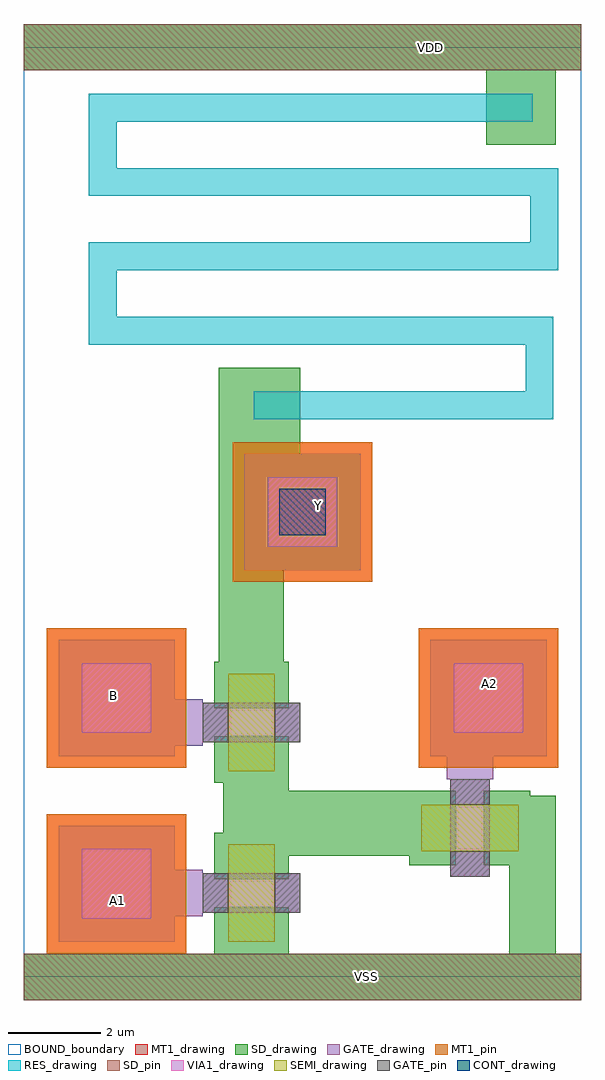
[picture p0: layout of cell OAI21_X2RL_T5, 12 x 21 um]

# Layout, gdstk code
from math import pi, radians
import gdstk
lib = gdstk.Library(unit=1e-6, precision=1e-09)
def R(c, l, rs):  # rectangles x0, y0, x1, y1
    for r in rs: c.add(gdstk.rectangle(r[:2], r[2:], *l))
def P(c, l, *ps):  # polygons
    for p in ps: c.add(gdstk.Polygon(p, *l))
RES_drawing = (1, 0)
SEMI_drawing = (3, 0)
SD_drawing = (10, 0)
SD_pin = (10, 3)
GATE_drawing = (11, 0)
GATE_pin = (11, 3)
MT1_drawing = (20, 0)
MT1_pin = (20, 3)
CONT_drawing = (30, 0)
VIA1_drawing = (41, 0)
BOUND_boundary = (150, 5)

nch_cdns_772545096890 = lib.new_cell('nch_CDNS_772545096890')
R(nch_cdns_772545096890, SEMI_drawing, [(-1.05,-0.5,1.05,0.5)])
R(nch_cdns_772545096890, SD_drawing, [(-1.3,-0.8,-0.3,0.8), (0.3,-0.8,1.3,0.8)])
R(nch_cdns_772545096890, GATE_drawing, [(-0.425,-1.05,0.425,1.05)])
R(nch_cdns_772545096890, GATE_pin, [(-0.425,-1.05,0.425,-0.5), (-0.425,0.5,0.425,1.05)])

gate_mt1_cdns_7725450968 = lib.new_cell('GATE_MT1_CDNS_772545096890')
R(gate_mt1_cdns_7725450968, GATE_drawing, [(-1.25,-1.25,1.25,1.25)])
R(gate_mt1_cdns_7725450968, MT1_drawing, [(-1.25,-1.25,1.25,1.25)])
R(gate_mt1_cdns_7725450968, VIA1_drawing, [(-0.75,-0.75,0.75,0.75)])

sd_gate_cdns_77254509689 = lib.new_cell('SD_GATE_CDNS_772545096891')
R(sd_gate_cdns_77254509689, SD_drawing, [(-1.25,-1.25,1.25,1.25)])
R(sd_gate_cdns_77254509689, GATE_drawing, [(-1.25,-1.25,1.25,1.25)])
R(sd_gate_cdns_77254509689, CONT_drawing, [(-0.5,-0.5,0.5,0.5)])

oai21_x2rl_t5 = lib.new_cell('OAI21_X2RL_T5')
R(oai21_x2rl_t5, SD_drawing, [(0,-0.5,12,0.5), (10.45,0.5,11.45,3.9), (4.3,3.1,5.7,4.175), (4.2,11.25,5.95,13.1), (9.95,17.9,11.45,19.5), (0,19.5,12,20.5)])
R(oai21_x2rl_t5, SD_pin, [(0,-0.5,12,0.5), (0,19.5,12,20.5)])
P(oai21_x2rl_t5, GATE_drawing, [(10.1,4.35),(9.1,4.35),(9.1,4.25),(9.225,4.25),(9.225,4.2),(9.975,4.2),(9.975,4.25),(10.1,4.25)],
  [(3.75,5.975),(3.75,4.975),(3.85,4.975),(3.85,5.1),(3.9,5.1),(3.9,5.85),(3.85,5.85),(3.85,5.975)],
  [(3.75,2.3),(3.75,1.3),(3.85,1.3),(3.85,1.425),(3.9,1.425),(3.9,2.175),(3.85,2.175),(3.85,2.3)])
R(oai21_x2rl_t5, MT1_drawing, [(0.5,0.5,3.5,3.5), (0.5,4.5,3.5,7.5), (8.5,4.5,11.5,7.5), (4.5,8.5,7.5,11.5)])
R(oai21_x2rl_t5, MT1_pin, [(0.5,0.5,3.5,3.5), (0.5,4.5,3.5,7.5), (8.5,4.5,11.5,7.5), (4.5,8.5,7.5,11.5)])
R(oai21_x2rl_t5, BOUND_boundary, [(0,0,12,20)])
oai21_x2rl_t5.add(gdstk.FlexPath([(9.6,4.35),(9.6,5.1)], 1, ends="flush", simple_path=True, layer=11, datatype=0))  # GATE_drawing
oai21_x2rl_t5.add(gdstk.FlexPath([(3.75,5.475),(3.075,5.475)], 1, ends="flush", simple_path=True, layer=11, datatype=0))  # GATE_drawing
oai21_x2rl_t5.add(gdstk.FlexPath([(3.75,1.8),(3.15,1.8)], 1, ends="flush", simple_path=True, layer=11, datatype=0))  # GATE_drawing
oai21_x2rl_t5.add(gdstk.FlexPath([(4.9,6.775),(4.9,11.25)], 1.4, ends="flush", simple_path=True, layer=10, datatype=0))  # SD_drawing
oai21_x2rl_t5.add(gdstk.FlexPath([(5.6,3.3),(8.3,3.3)], 1.4, ends="flush", simple_path=True, layer=10, datatype=0))  # SD_drawing
oai21_x2rl_t5.add(gdstk.FlexPath([(5.95,12.3),(11.1,12.3),(11.1,13.9),(1.7,13.9),(1.7,15.5),(11.2,15.5),(11.2,17.1),(1.7,17.1),(1.7,18.7),(9.95,18.7)], 0.6, ends=(1, 1), simple_path=True, layer=1, datatype=0))  # RES_drawing
oai21_x2rl_t5.add(gdstk.Reference(nch_cdns_772545096890, (9.6,3.2), rotation=pi))
oai21_x2rl_t5.add(gdstk.Reference(nch_cdns_772545096890, (4.9,5.475), rotation=pi/2))
oai21_x2rl_t5.add(gdstk.Reference(nch_cdns_772545096890, (4.9,1.8), rotation=pi/2))
oai21_x2rl_t5.add(gdstk.Reference(gate_mt1_cdns_7725450968, (10,6)))
oai21_x2rl_t5.add(gdstk.Reference(gate_mt1_cdns_7725450968, (2,2)))
oai21_x2rl_t5.add(gdstk.Reference(gate_mt1_cdns_7725450968, (6,10)))
oai21_x2rl_t5.add(gdstk.Reference(gate_mt1_cdns_7725450968, (2,6)))
oai21_x2rl_t5.add(gdstk.Reference(sd_gate_cdns_77254509689, (6,10)))
oai21_x2rl_t5.add(gdstk.Label('B', (1.925,6.05), layer=20, texttype=3))
oai21_x2rl_t5.add(gdstk.Label('A2', (10.025,6.3), layer=20, texttype=3))
oai21_x2rl_t5.add(gdstk.Label('A1', (2.025,1.65), layer=20, texttype=3))
oai21_x2rl_t5.add(gdstk.Label('Y', (6.35,10.15), layer=20, texttype=3))
oai21_x2rl_t5.add(gdstk.Label('VDD', (8.75,20), layer=10, texttype=3))
oai21_x2rl_t5.add(gdstk.Label('VSS', (7.375,0), layer=10, texttype=3))

lib.write_gds('OAI21_X2RL_T5.gds')
